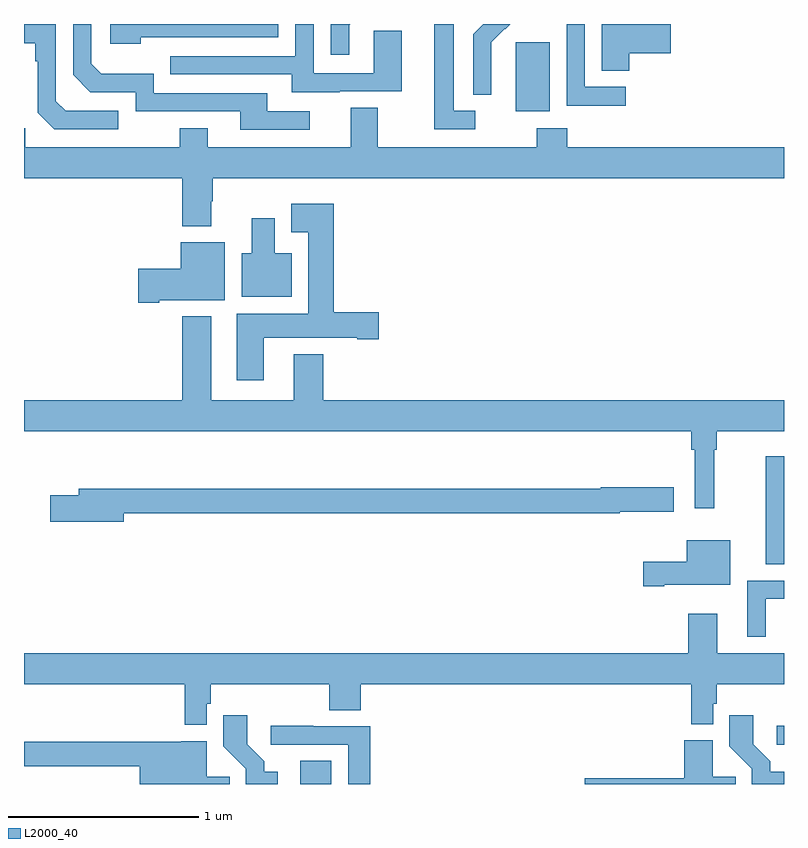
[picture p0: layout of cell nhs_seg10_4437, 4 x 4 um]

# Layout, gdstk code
import gdstk
lib = gdstk.Library(unit=1e-6, precision=1e-09)
def R(c, l, rs):  # rectangles x0, y0, x1, y1
    for r in rs: c.add(gdstk.rectangle(r[:2], r[2:], *l))
def P(c, l, *ps):  # polygons
    for p in ps: c.add(gdstk.Polygon(p, *l))
L2000_40 = (2000, 40)

nhs_seg10_4437 = lib.new_cell('nhs_seg10_4437')
R(nhs_seg10_4437, L2000_40, [(364.454,1258.5,364.618,1258.622), (366.963,1258.707,367,1258.806), (366.905,1259.656,367,1260.226), (365.588,1262.042,365.767,1262.403)])
P(nhs_seg10_4437, L2000_40, [(363.496,1262.043),(363.219,1262.043),(363.168,1262.094),(363.168,1262.5),(363,1262.5),(363,1262.399),(363.06,1262.399),(363.06,1262.303),(363.072,1262.303),(363.072,1262.034),(363.159,1261.947),(363.496,1261.947)],
  [(364.663,1262.145),(364.987,1262.145),(364.987,1262.465),(364.842,1262.465),(364.842,1262.241),(364.524,1262.241),(364.524,1262.5),(364.428,1262.5),(364.428,1262.331),(363.769,1262.331),(363.769,1262.235),(364.409,1262.235),(364.409,1262.141),(364.663,1262.141)],
  [(365.374,1262.043),(365.263,1262.043),(365.263,1262.5),(365.159,1262.5),(365.159,1261.947),(365.374,1261.947)],
  [(364.711,1262.493),(364.718,1262.5),(364.614,1262.5),(364.614,1262.337),(364.711,1262.337)],
  [(366.185,1262.345),(366.403,1262.345),(366.403,1262.5),(366.041,1262.5),(366.041,1262.254),(366.185,1262.254)],
  [(364.504,1262.04),(364.279,1262.04),(364.279,1262.136),(363.684,1262.136),(363.684,1262.239),(363.407,1262.239),(363.354,1262.292),(363.354,1262.5),(363.258,1262.5),(363.258,1262.232),(363.348,1262.142),(363.588,1262.142),(363.588,1262.04),(364.139,1262.04),(364.139,1261.944),(364.504,1261.944)],
  [(366.166,1262.169),(365.952,1262.169),(365.952,1262.5),(365.856,1262.5),(365.856,1262.071),(366.166,1262.071)],
  [(365.46,1262.282),(365.459,1262.282),(365.459,1262.405),(365.529,1262.475),(365.532,1262.472),(365.56,1262.5),(365.418,1262.5),(365.364,1262.446),(365.364,1262.128),(365.46,1262.128)],
  [(363.614,1262.43),(364.338,1262.43),(364.338,1262.5),(363.453,1262.5),(363.453,1262.396),(363.614,1262.396)],
  [(363.833,1261.436),(363.985,1261.436),(363.985,1261.568),(363.993,1261.568),(363.993,1261.688),(367,1261.688),(367,1261.852),(365.858,1261.852),(365.858,1261.951),(365.698,1261.951),(365.698,1261.852),(364.861,1261.852),(364.861,1262.06),(364.721,1262.06),(364.721,1261.852),(363.967,1261.852),(363.967,1261.951),(363.82,1261.951),(363.82,1261.852),(363.006,1261.852),(363.006,1261.951),(363,1261.951),(363,1261.688),(363.833,1261.688)],
  [(364.261,1260.848),(364.754,1260.848),(364.754,1260.841),(364.867,1260.841),(364.867,1260.983),(364.631,1260.983),(364.631,1261.555),(364.406,1261.555),(364.406,1261.403),(364.496,1261.403),(364.496,1260.976),(364.121,1260.976),(364.121,1260.624),(364.261,1260.624)],
  [(364.408,1261.294),(364.321,1261.294),(364.321,1261.477),(364.199,1261.477),(364.199,1261.294),(364.145,1261.294),(364.145,1261.064),(364.408,1261.064)],
  [(363.712,1261.046),(364.057,1261.046),(364.057,1261.351),(363.824,1261.351),(363.824,1261.212),(363.6,1261.212),(363.6,1261.034),(363.712,1261.034)],
  [(366.632,1260.26),(366.647,1260.26),(366.647,1260.356),(367,1260.356),(367,1260.52),(364.574,1260.52),(364.574,1260.763),(364.421,1260.763),(364.421,1260.52),(363.985,1260.52),(363.985,1260.961),(363.833,1260.961),(363.833,1260.52),(363,1260.52),(363,1260.356),(366.511,1260.356),(366.511,1260.26),(366.531,1260.26),(366.531,1259.952),(366.632,1259.952)],
  [(363.526,1259.926),(366.136,1259.926),(366.136,1259.933),(366.421,1259.933),(366.421,1260.063),(366.036,1260.063),(366.036,1260.055),(363.287,1260.055),(363.287,1260.021),(363.138,1260.021),(363.138,1259.879),(363.526,1259.879)],
  [(366.37,1259.549),(366.718,1259.549),(366.718,1259.782),(366.488,1259.782),(366.488,1259.671),(366.258,1259.671),(366.258,1259.542),(366.37,1259.542)],
  [(366.904,1259.475),(367,1259.475),(367,1259.571),(366.806,1259.571),(366.806,1259.274),(366.904,1259.274)],
  [(363.963,1258.923),(363.983,1258.923),(363.983,1259.024),(364.607,1259.024),(364.607,1258.888),(364.772,1258.888),(364.772,1259.024),(366.511,1259.024),(366.511,1258.814),(366.627,1258.814),(366.627,1258.923),(366.647,1258.923),(366.647,1259.024),(367,1259.024),(367,1259.188),(366.649,1259.188),(366.649,1259.395),(366.497,1259.395),(366.497,1259.188),(363,1259.188),(363,1259.024),(363.847,1259.024),(363.847,1258.811),(363.963,1258.811)],
  [(364.336,1258.564),(364.264,1258.564),(364.264,1258.619),(364.174,1258.709),(364.174,1258.861),(364.048,1258.861),(364.048,1258.698),(364.167,1258.579),(364.167,1258.5),(364.336,1258.5)],
  [(367,1258.564),(366.928,1258.564),(366.928,1258.619),(366.838,1258.709),(366.838,1258.861),(366.712,1258.861),(366.712,1258.698),(366.831,1258.579),(366.831,1258.5),(367,1258.5)],
  [(364.823,1258.803),(364.523,1258.803),(364.523,1258.806),(364.299,1258.806),(364.299,1258.707),(364.707,1258.707),(364.707,1258.5),(364.823,1258.5)],
  [(366.746,1258.538),(366.625,1258.538),(366.625,1258.729),(366.476,1258.729),(366.476,1258.529),(365.951,1258.529),(365.951,1258.5),(366.746,1258.5)],
  [(364.082,1258.538),(363.961,1258.538),(363.961,1258.726),(363.828,1258.726),(363.828,1258.723),(363,1258.723),(363,1258.594),(363.608,1258.594),(363.608,1258.5),(364.082,1258.5)])

lib.write_gds('nhs_seg10_4437.gds')
